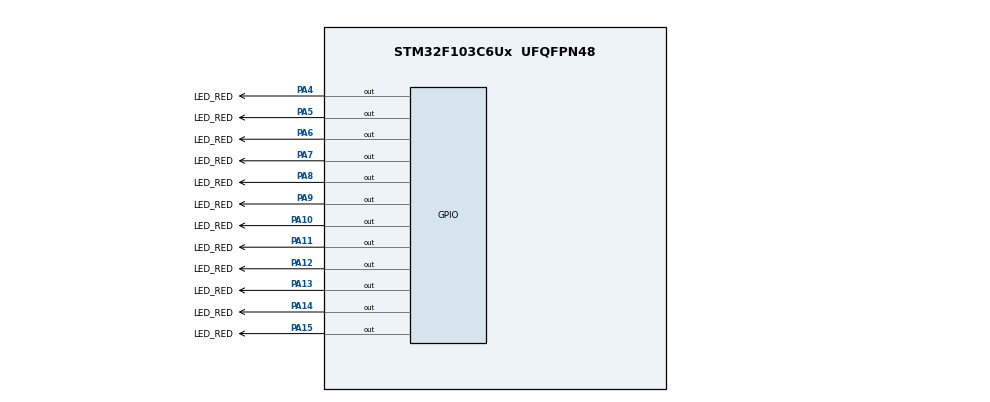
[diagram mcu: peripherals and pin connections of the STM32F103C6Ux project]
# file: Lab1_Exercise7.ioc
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Mcu.Family=STM32F1
Mcu.Name=STM32F103C6Ux
Mcu.Package=UFQFPN48
NVIC.PriorityGroup=NVIC_PRIORITYGROUP_4
PA10.GPIO_Label=LED_RED
PA10.PinState=GPIO_PIN_SET
PA10.Signal=GPIO_Output
PA11.GPIO_Label=LED_RED
PA11.PinState=GPIO_PIN_SET
PA11.Signal=GPIO_Output
PA12.GPIO_Label=LED_RED
PA12.PinState=GPIO_PIN_SET
PA12.Signal=GPIO_Output
PA13.GPIO_Label=LED_RED
PA13.PinState=GPIO_PIN_SET
PA13.Signal=GPIO_Output
PA14.GPIO_Label=LED_RED
PA14.PinState=GPIO_PIN_SET
PA14.Signal=GPIO_Output
PA15.GPIO_Label=LED_RED
PA15.PinState=GPIO_PIN_SET
PA15.Signal=GPIO_Output
PA4.GPIO_Label=LED_RED
PA4.PinState=GPIO_PIN_SET
PA4.Signal=GPIO_Output
PA5.GPIO_Label=LED_RED
PA5.PinState=GPIO_PIN_SET
PA5.Signal=GPIO_Output
PA6.GPIO_Label=LED_RED
PA6.PinState=GPIO_PIN_SET
PA6.Signal=GPIO_Output
PA7.GPIO_Label=LED_RED
PA7.PinState=GPIO_PIN_SET
PA7.Signal=GPIO_Output
PA8.GPIO_Label=LED_RED
PA8.PinState=GPIO_PIN_SET
PA8.Signal=GPIO_Output
PA9.GPIO_Label=LED_RED
PA9.PinState=GPIO_PIN_SET
PA9.Signal=GPIO_Output
ProjectManager.HeapSize=0x200
ProjectManager.StackSize=0x400
ProjectManager.TargetToolchain=STM32CubeIDE
RCC.APB1Freq_Value=8000000
RCC.APB2Freq_Value=8000000
VP_SYS_VS_ND.Mode=No_Debug
board=custom

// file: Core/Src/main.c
/* USER CODE BEGIN Header */
/**
  ******************************************************************************
  * @file           : main.c
  * @brief          : Main program body
  ******************************************************************************
  * @attention
  *
  * <h2><center>&copy; Copyright (c) 2026 STMicroelectronics.
  * All rights reserved.</center></h2>
  *
  * This software component is licensed by ST under BSD 3-Clause license,
  * the "License"; You may not use this file except in compliance with the
  * License. You may obtain a copy of the License at:
  *                        opensource.org/licenses/BSD-3-Clause
  *
  ******************************************************************************
  */
/* USER CODE END Header */
#include "main.h"

void SystemClock_Config(void);
static void MX_GPIO_Init(void);

/* USER CODE BEGIN 0 */
void clearAllClock(void)
{
    HAL_GPIO_WritePin(GPIOA,
                      GPIO_PIN_4  | GPIO_PIN_5  | GPIO_PIN_6  |
                      GPIO_PIN_7  | GPIO_PIN_8  | GPIO_PIN_9  |
                      GPIO_PIN_10 | GPIO_PIN_11 | GPIO_PIN_12 |
                      GPIO_PIN_13 | GPIO_PIN_14 | GPIO_PIN_15,
                      GPIO_PIN_SET);
}
/* USER CODE END 0 */

int main(void)
{

  /* MCU Configuration--------------------------------------------------------*/

  /* Reset of all peripherals, Initializes the Flash interface and the Systick. */
  HAL_Init();

  /* Configure the system clock */
  SystemClock_Config();

  /* Initialize all configured peripherals */
  MX_GPIO_Init();
  /* USER CODE BEGIN 2 */
  // Bat tat ca 12 LED
  HAL_GPIO_WritePin(GPIOA,
                    GPIO_PIN_4  | GPIO_PIN_5  | GPIO_PIN_6  |
                    GPIO_PIN_7  | GPIO_PIN_8  | GPIO_PIN_9  |
                    GPIO_PIN_10 | GPIO_PIN_11 | GPIO_PIN_12 |
                    GPIO_PIN_13 | GPIO_PIN_14 | GPIO_PIN_15,
                    GPIO_PIN_RESET);

  HAL_Delay(2000);

  // Tat tat ca 12 LED
  clearAllClock();
  /* USER CODE END 2 */

  /* Infinite loop */
  while (1)
  {

  }
}

void SystemClock_Config(void)
{
  RCC_OscInitTypeDef RCC_OscInitStruct = {0};
  RCC_ClkInitTypeDef RCC_ClkInitStruct = {0};

  /** Initializes the RCC Oscillators according to the specified parameters
  * in the RCC_OscInitTypeDef structure.
  */
  RCC_OscInitStruct.OscillatorType = RCC_OSCILLATORTYPE_HSI;
  RCC_OscInitStruct.HSIState = RCC_HSI_ON;
  RCC_OscInitStruct.HSICalibrationValue = RCC_HSICALIBRATION_DEFAULT;
  RCC_OscInitStruct.PLL.PLLState = RCC_PLL_NONE;
  if (HAL_RCC_OscConfig(&RCC_OscInitStruct) != HAL_OK)
  {
    Error_Handler();
  }
  /** Initializes the CPU, AHB and APB buses clocks
  */
  RCC_ClkInitStruct.ClockType = RCC_CLOCKTYPE_HCLK|RCC_CLOCKTYPE_SYSCLK
                              |RCC_CLOCKTYPE_PCLK1|RCC_CLOCKTYPE_PCLK2;
  RCC_ClkInitStruct.SYSCLKSource = RCC_SYSCLKSOURCE_HSI;
  RCC_ClkInitStruct.AHBCLKDivider = RCC_SYSCLK_DIV1;
  RCC_ClkInitStruct.APB1CLKDivider = RCC_HCLK_DIV1;
  RCC_ClkInitStruct.APB2CLKDivider = RCC_HCLK_DIV1;

  if (HAL_RCC_ClockConfig(&RCC_ClkInitStruct, FLASH_LATENCY_0) != HAL_OK)
  {
    Error_Handler();
  }
}

static void MX_GPIO_Init(void)
{
  GPIO_InitTypeDef GPIO_InitStruct = {0};

  /* GPIO Ports Clock Enable */
  __HAL_RCC_GPIOA_CLK_ENABLE();

  /*Configure GPIO pin Output Level */
  HAL_GPIO_WritePin(GPIOA, LED_RED_Pin|LED_REDA5_Pin|LED_REDA6_Pin|LED_REDA7_Pin
                          |LED_REDA8_Pin|LED_REDA9_Pin|LED_REDA10_Pin|LED_REDA11_Pin
                          |LED_REDA12_Pin|LED_REDA13_Pin|LED_REDA14_Pin|LED_REDA15_Pin, GPIO_PIN_SET);

  /*Configure GPIO pins : LED_RED_Pin LED_REDA5_Pin LED_REDA6_Pin LED_REDA7_Pin
                           LED_REDA8_Pin LED_REDA9_Pin LED_REDA10_Pin LED_REDA11_Pin
                           LED_REDA12_Pin LED_REDA13_Pin LED_REDA14_Pin LED_REDA15_Pin */
  GPIO_InitStruct.Pin = LED_RED_Pin|LED_REDA5_Pin|LED_REDA6_Pin|LED_REDA7_Pin
                          |LED_REDA8_Pin|LED_REDA9_Pin|LED_REDA10_Pin|LED_REDA11_Pin
                          |LED_REDA12_Pin|LED_REDA13_Pin|LED_REDA14_Pin|LED_REDA15_Pin;
  GPIO_InitStruct.Mode = GPIO_MODE_OUTPUT_PP;
  GPIO_InitStruct.Pull = GPIO_NOPULL;
  GPIO_InitStruct.Speed = GPIO_SPEED_FREQ_LOW;
  HAL_GPIO_Init(GPIOA, &GPIO_InitStruct);

}

void Error_Handler(void)
{
  __disable_irq();
  while (1)
  {
  }
}

/************************ (C) COPYRIGHT STMicroelectronics *****END OF FILE****/
